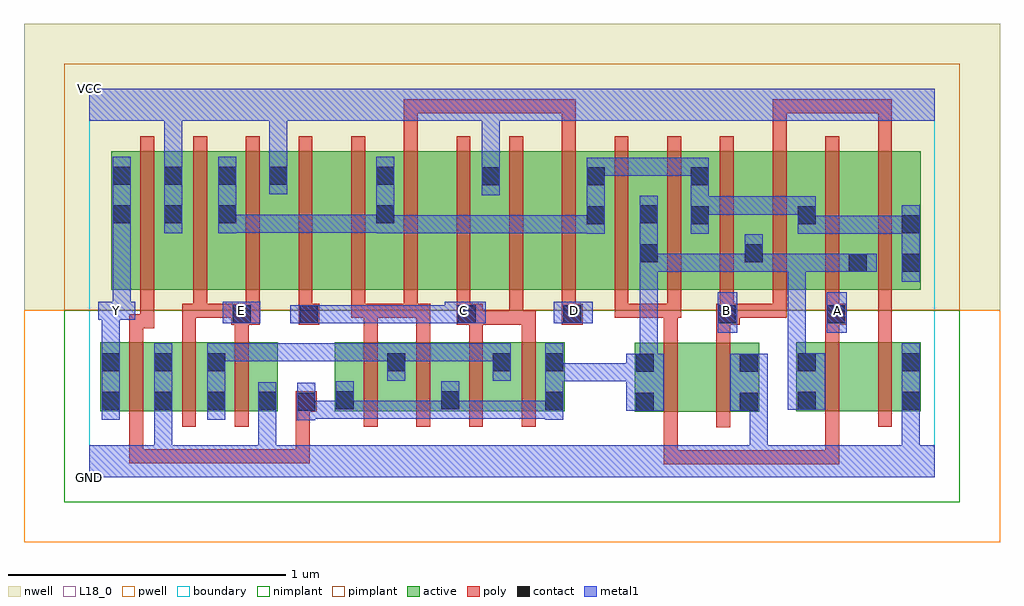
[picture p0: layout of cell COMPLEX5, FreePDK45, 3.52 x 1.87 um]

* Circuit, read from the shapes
.subckt COMPLEX5 A B C D E GND VCC Y
M1 GND n1 Y VSUBS nfet w=0.25u l=0.05u
M2 n2 E GND VSUBS nfet w=0.25u l=0.05u m=2
M3 n2 D n1 VSUBS nfet w=0.25u l=0.05u m=2
M4 n2 C n1 VSUBS nfet w=0.25u l=0.05u m=2
M5 n3 A n1 VSUBS nfet w=0.25u l=0.05u
M6 GND B n3 VSUBS nfet w=0.25u l=0.05u
M7 n4 A n1 VSUBS nfet w=0.25u l=0.05u
M8 GND B n4 VSUBS nfet w=0.25u l=0.05u
M9 VCC n1 Y n5 pfet w=0.5u l=0.05u
M10 n6 E VCC n5 pfet w=0.5u l=0.05u m=2
M11 n7 C VCC n5 pfet w=0.5u l=0.05u
M12 n6 D n7 n5 pfet w=0.5u l=0.05u
M13 n8 D n6 n5 pfet w=0.5u l=0.05u
M14 VCC C n8 n5 pfet w=0.5u l=0.05u
M15 n9 C VCC n5 pfet w=0.5u l=0.05u
M16 n6 D n9 n5 pfet w=0.5u l=0.05u
M17 n1 A n6 n5 pfet w=0.5u l=0.05u m=3
M18 n1 B n6 n5 pfet w=0.5u l=0.05u m=3
.ends

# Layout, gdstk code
import gdstk
lib = gdstk.Library(unit=1e-6, precision=1e-09)
def R(c, l, rs):  # rectangles x0, y0, x1, y1
    for r in rs: c.add(gdstk.rectangle(r[:2], r[2:], *l))
def A(c, l, x, y, w, h, nx, ny, dx, dy):  # array of equal rectangles
    R(c, l, [(x+i*dx, y+j*dy, x+i*dx+w, y+j*dy+h) for i in range(nx) for j in range(ny)])
active = (1, 0)
pwell = (2, 0)
nwell = (3, 0)
nimplant = (4, 0)
pimplant = (5, 0)
poly = (9, 0)
contact = (10, 0)
metal1 = (11, 0)
L18_0 = (18, 0)
boundary = (235, 0)

complex5 = lib.new_cell('COMPLEX5')
A(complex5, active, 0.875, 0.675, 0.23, 0.5, 3, 1, 0.38, 0)
R(complex5, active, [(1.967,0.235,2.042,0.485), (1.967,0.235,2.192,0.485), (2.192,0.235,2.417,0.485), (2.342,0.235,2.417,0.485), (0.04,0.237,0.115,0.487), (0.04,0.237,0.305,0.487), (0.23,0.237,0.495,0.487), (0.23,0.237,0.305,0.467), (0.42,0.237,0.68,0.487), (0.42,0.237,0.495,0.467), (0.605,0.237,0.68,0.487), (0.885,0.237,1.145,0.487), (1.07,0.237,1.34,0.487), (1.265,0.237,1.525,0.487), (1.265,0.237,1.34,0.405), (1.45,0.237,1.715,0.487), (1.64,0.237,1.715,0.487), (2.55,0.237,2.625,0.487), (2.55,0.237,2.775,0.487), (2.775,0.237,3,0.487), (2.925,0.237,3,0.487), (0.885,0.24,0.96,0.487), (1.07,0.297,1.145,0.452), (1.45,0.297,1.525,0.452), (0.08,0.675,0.155,1.175), (0.08,0.675,0.34,1.175), (0.265,0.675,0.535,1.175), (0.265,0.675,0.34,1.157), (0.46,0.675,0.72,1.175), (0.46,0.675,0.535,1.157), (0.645,0.675,0.875,1.175), (1.03,0.675,1.255,1.175), (1.41,0.675,1.635,1.175), (1.79,0.675,2.055,1.175), (1.79,0.675,1.865,1.157), (1.98,0.675,2.055,1.07), (1.98,0.675,2.24,1.175), (2.165,0.675,2.435,1.175), (2.36,0.675,2.625,1.175), (2.36,0.675,2.435,1.07), (2.55,0.675,2.81,1.175), (2.735,0.675,3,1.175), (2.735,0.675,2.81,1.07), (2.925,0.675,3,1.175), (1.41,0.682,1.485,1.175), (1.03,0.695,1.105,1.165), (2.55,0.697,2.625,1.157), (2.165,0.777,2.24,1.157), (0.645,0.79,0.72,1.157)])
R(complex5, pwell, [(-0.235,-0.235,3.285,0.602)])
R(complex5, nwell, [(-0.235,0.602,3.285,1.635)])
R(complex5, nimplant, [(-0.09,-0.09,3.14,0.602)])
R(complex5, pimplant, [(-0.09,0.602,3.14,1.49)])
A(complex5, poly, 0.145, 0.182, 0.05, 0.36, 3, 1, 0.19, 0)
A(complex5, poly, 0.99, 0.182, 0.05, 0.36, 4, 1, 0.19, 0)
A(complex5, poly, 0.755, 0.55, 0.075, 0.075, 3, 1, 0.95, 0)
A(complex5, poly, 0.375, 0.575, 0.05, 0.095, 6, 1, 0.19, 0)
A(complex5, poly, 1.705, 0.575, 0.05, 0.095, 7, 1, 0.19, 0)
A(complex5, poly, 0.185, 0.62, 0.05, 0.61, 15, 1, 0.19, 0)
R(complex5, poly, [(2.072,0.047,2.122,0.097), (2.072,0.047,2.122,0.097), (2.072,0.047,2.122,0.097), (2.072,0.047,2.382,0.097), (2.072,0.047,2.122,0.23), (2.332,0.047,2.382,0.097), (2.332,0.047,2.382,0.097), (2.332,0.047,2.382,0.097), (2.332,0.047,2.517,0.097), (2.467,0.047,2.517,0.097), (2.467,0.047,2.517,0.097), (2.467,0.047,2.517,0.097), (2.467,0.047,2.705,0.097), (2.655,0.047,2.705,0.097), (2.655,0.047,2.705,0.232), (0.145,0.05,0.195,0.232), (0.145,0.05,0.195,0.1), (0.145,0.05,0.195,0.1), (0.145,0.05,0.195,0.1), (0.145,0.05,0.425,0.1), (0.375,0.05,0.425,0.1), (0.375,0.05,0.557,0.1), (0.507,0.05,0.557,0.1), (0.507,0.05,0.557,0.1), (0.507,0.05,0.557,0.1), (0.507,0.05,0.795,0.1), (0.745,0.05,0.795,0.1), (0.745,0.05,0.795,0.1), (0.745,0.05,0.795,0.1), (0.745,0.05,0.795,0.285), (2.072,0.18,2.122,0.54), (2.262,0.18,2.312,0.54), (2.655,0.182,2.705,0.542), (2.845,0.182,2.895,0.542), (0.745,0.235,0.82,0.31), (2.072,0.49,2.122,0.625), (2.262,0.49,2.312,0.6), (0.145,0.492,0.195,0.587), (0.335,0.492,0.385,0.625), (0.525,0.492,0.575,0.6), (0.99,0.492,1.04,0.625), (1.18,0.492,1.23,0.625), (1.37,0.492,1.42,0.6), (1.56,0.492,1.61,0.6), (2.655,0.492,2.705,0.6), (2.845,0.492,2.895,0.625), (0.145,0.537,0.235,0.587), (0.185,0.537,0.235,0.67), (0.512,0.55,0.615,0.625), (1.325,0.55,1.42,0.625), (1.37,0.55,1.565,0.6), (1.515,0.55,1.565,0.6), (1.515,0.55,1.565,0.6), (1.515,0.55,1.565,0.67), (1.515,0.55,1.61,0.6), (2.262,0.55,2.347,0.625), (0.335,0.575,0.425,0.625), (0.375,0.575,0.425,0.625), (0.375,0.575,0.425,0.625), (0.375,0.575,0.562,0.625), (0.945,0.575,1.04,0.625), (0.99,0.575,1.04,0.625), (0.99,0.575,1.04,0.625), (0.99,0.575,1.185,0.625), (1.135,0.575,1.23,0.625), (1.895,0.575,1.945,0.625), (1.895,0.575,1.945,0.625), (1.895,0.575,1.945,0.625), (1.895,0.575,2.122,0.625), (2.072,0.575,2.135,0.625), (2.297,0.575,2.347,0.625), (2.297,0.575,2.347,0.625), (2.297,0.575,2.515,0.625), (2.465,0.575,2.515,0.625), (2.845,0.575,2.895,0.625), (1.135,1.18,1.185,1.362), (1.705,1.18,1.755,1.362), (2.465,1.18,2.515,1.362), (2.845,1.18,2.895,1.362), (1.135,1.312,1.185,1.362), (1.135,1.312,1.317,1.362), (1.267,1.312,1.317,1.362), (1.267,1.312,1.317,1.362), (1.267,1.312,1.317,1.362), (1.267,1.312,1.552,1.362), (1.502,1.312,1.552,1.362), (1.502,1.312,1.552,1.362), (1.502,1.312,1.552,1.362), (1.502,1.312,1.755,1.362), (1.705,1.312,1.755,1.362), (1.705,1.312,1.755,1.362), (1.705,1.312,1.755,1.362), (2.465,1.312,2.515,1.362), (2.465,1.312,2.762,1.362), (2.712,1.312,2.762,1.362), (2.712,1.312,2.762,1.362), (2.712,1.312,2.762,1.362), (2.712,1.312,2.895,1.362), (2.845,1.312,2.895,1.362), (2.845,1.312,2.895,1.362), (2.845,1.312,2.895,1.362)])
A(complex5, contact, 0.045, 0.242, 0.065, 0.065, 3, 2, 0.19, 0.14)
R(complex5, contact, [(0.75,0.24,0.815,0.305), (1.972,0.24,2.037,0.305), (2.347,0.24,2.412,0.305), (0.61,0.242,0.675,0.307), (1.645,0.242,1.71,0.307), (2.555,0.242,2.62,0.307), (2.93,0.242,2.995,0.307), (0.89,0.245,0.955,0.31), (1.27,0.245,1.335,0.31), (1.972,0.38,2.037,0.445), (2.347,0.38,2.412,0.445), (1.075,0.382,1.14,0.447), (1.455,0.382,1.52,0.447), (1.645,0.382,1.71,0.447), (2.555,0.382,2.62,0.447), (2.93,0.382,2.995,0.447), (0.517,0.555,0.582,0.62), (0.76,0.555,0.825,0.62), (1.33,0.555,1.395,0.62), (1.71,0.555,1.775,0.62), (2.267,0.555,2.332,0.62), (2.66,0.555,2.725,0.62), (2.74,0.74,2.805,0.805), (2.93,0.74,2.995,0.805), (1.985,0.775,2.05,0.84), (2.365,0.775,2.43,0.84), (2.93,0.88,2.995,0.945), (1.795,0.912,1.86,0.977), (2.17,0.912,2.235,0.977), (2.555,0.912,2.62,0.977), (0.085,0.915,0.15,0.98), (0.27,0.915,0.335,0.98), (0.465,0.915,0.53,0.98), (1.035,0.915,1.1,0.98), (1.985,0.915,2.05,0.98), (1.415,1.052,1.48,1.117), (1.795,1.052,1.86,1.117), (2.17,1.052,2.235,1.117), (0.085,1.055,0.15,1.12), (0.27,1.055,0.335,1.12), (0.465,1.055,0.53,1.12), (0.65,1.055,0.715,1.12), (1.035,1.055,1.1,1.12)])
A(complex5, metal1, 0.045, 0.207, 0.065, 0.275, 3, 1, 0.19, 0)
R(complex5, metal1, [(0,0,3.05,0.115), (0.235,0.05,0.3,0.115), (0.235,0.05,0.3,0.115), (0.235,0.05,0.3,0.115), (0.235,0.05,0.3,0.115), (0.235,0.05,0.3,0.272), (0.61,0.05,0.675,0.115), (0.61,0.05,0.675,0.115), (0.61,0.05,0.675,0.272), (2.382,0.05,2.447,0.115), (2.382,0.05,2.447,0.115), (2.382,0.05,2.447,0.115), (2.382,0.05,2.447,0.115), (2.382,0.05,2.447,0.305), (2.93,0.05,2.995,0.115), (2.93,0.05,2.995,0.115), (2.93,0.05,2.995,0.115), (2.93,0.05,2.995,0.115), (2.93,0.05,2.995,0.272), (0.75,0.205,0.815,0.34), (0.61,0.207,0.675,0.272), (0.61,0.207,0.675,0.272), (0.61,0.207,0.675,0.342), (1.645,0.207,1.71,0.482), (2.93,0.207,2.995,0.482), (0.75,0.21,0.955,0.275), (0.89,0.21,0.955,0.345), (0.89,0.21,0.997,0.275), (0.932,0.21,0.997,0.275), (0.932,0.21,1.135,0.275), (1.07,0.21,1.135,0.275), (1.07,0.21,1.135,0.275), (1.07,0.21,1.135,0.275), (1.07,0.21,1.335,0.275), (1.27,0.21,1.335,0.275), (1.27,0.21,1.335,0.275), (1.27,0.21,1.472,0.275), (1.27,0.21,1.335,0.345), (1.407,0.21,1.472,0.275), (1.407,0.21,1.472,0.275), (1.407,0.21,1.472,0.275), (1.407,0.21,1.71,0.275), (1.937,0.24,2.072,0.445), (2.312,0.24,2.447,0.445), (2.52,0.242,2.655,0.447), (1.645,0.345,1.71,0.41), (1.645,0.345,1.71,0.41), (1.645,0.345,1.865,0.41), (1.8,0.345,1.865,0.41), (1.8,0.345,1.865,0.41), (1.8,0.345,1.865,0.41), (1.8,0.345,2.002,0.41), (1.937,0.345,2.002,0.41), (1.937,0.345,2.002,0.41), (1.075,0.347,1.14,0.482), (1.455,0.347,1.52,0.482), (1.985,0.38,2.05,0.805), (2.52,0.382,2.585,0.447), (2.52,0.382,2.585,0.447), (2.52,0.382,2.585,0.805), (0.045,0.417,0.11,0.632), (0.425,0.417,0.49,0.482), (0.425,0.417,0.49,0.482), (0.425,0.417,0.722,0.482), (0.657,0.417,0.722,0.482), (0.657,0.417,0.722,0.482), (0.657,0.417,0.722,0.482), (0.657,0.417,0.962,0.482), (0.897,0.417,0.962,0.482), (0.897,0.417,0.997,0.482), (0.932,0.417,0.997,0.482), (0.932,0.417,1.14,0.482), (1.075,0.417,1.14,0.482), (1.075,0.417,1.14,0.482), (1.075,0.417,1.277,0.482), (1.212,0.417,1.277,0.482), (1.212,0.417,1.277,0.482), (1.212,0.417,1.277,0.482), (1.212,0.417,1.52,0.482), (2.267,0.52,2.337,0.667), (2.66,0.52,2.732,0.667), (0.482,0.555,0.617,0.632), (0.725,0.555,0.86,0.62), (0.795,0.555,0.86,0.62), (0.795,0.555,0.86,0.62), (0.795,0.555,0.997,0.62), (0.932,0.555,0.997,0.62), (0.932,0.555,1.135,0.62), (1.07,0.555,1.135,0.62), (1.07,0.555,1.135,0.62), (1.07,0.555,1.135,0.62), (1.07,0.555,1.335,0.62), (1.27,0.555,1.335,0.62), (1.27,0.555,1.347,0.62), (1.282,0.555,1.43,0.632), (1.675,0.555,1.817,0.632), (0.032,0.567,0.167,0.632), (0.085,0.567,0.15,0.945), (2.93,0.705,2.995,0.98), (1.985,0.74,2.05,0.805), (1.985,0.74,2.05,0.805), (1.985,0.74,2.05,1.015), (1.985,0.74,2.187,0.805), (2.122,0.74,2.187,0.805), (2.122,0.74,2.187,0.805), (2.122,0.74,2.187,0.805), (2.122,0.74,2.43,0.805), (2.365,0.74,2.43,0.805), (2.365,0.74,2.43,0.805), (2.365,0.74,2.43,0.875), (2.365,0.74,2.585,0.805), (2.52,0.74,2.585,0.805), (2.52,0.74,2.585,0.805), (2.52,0.74,2.585,0.805), (2.52,0.74,2.77,0.805), (2.705,0.74,2.77,0.805), (2.705,0.74,2.77,0.805), (2.705,0.74,2.84,0.805), (1.795,0.877,1.86,1.152), (2.17,0.877,2.235,1.152), (2.555,0.877,2.757,0.942), (2.555,0.877,2.62,1.012), (2.692,0.877,2.757,0.942), (2.692,0.877,2.757,0.942), (2.692,0.877,2.757,0.942), (2.692,0.877,2.995,0.942), (2.93,0.877,2.995,0.942), (2.93,0.877,2.995,0.942), (0.085,0.88,0.15,1.155), (0.27,0.88,0.335,1.155), (0.465,0.88,0.53,1.155), (1.035,0.88,1.1,1.155), (1.035,0.88,1.135,0.945), (1.07,0.88,1.135,0.945), (1.07,0.88,1.335,0.945), (1.27,0.88,1.335,0.945), (1.27,0.88,1.335,0.945), (1.27,0.88,1.335,0.945), (1.27,0.88,1.472,0.945), (1.407,0.88,1.472,0.945), (1.407,0.88,1.472,0.945), (1.407,0.88,1.472,0.945), (1.407,0.88,1.657,0.945), (1.592,0.88,1.657,0.945), (1.592,0.88,1.657,0.945), (1.592,0.88,1.657,0.945), (1.592,0.88,1.86,0.945), (0.465,0.882,0.53,0.947), (0.465,0.882,0.53,0.947), (0.465,0.882,0.667,0.947), (0.602,0.882,0.667,0.947), (0.602,0.882,0.667,0.947), (0.602,0.882,0.667,0.947), (0.602,0.882,0.86,0.947), (0.795,0.882,0.86,0.947), (0.795,0.882,0.997,0.947), (0.932,0.882,0.997,0.947), (0.932,0.882,1.1,0.947), (2.17,0.947,2.447,1.012), (2.382,0.947,2.447,1.012), (2.382,0.947,2.447,1.012), (2.382,0.947,2.447,1.012), (2.382,0.947,2.585,1.012), (2.52,0.947,2.585,1.012), (2.52,0.947,2.62,1.012), (1.415,1.017,1.48,1.152), (0.65,1.02,0.715,1.155), (1.415,1.087,1.48,1.152), (1.415,1.087,1.48,1.152), (1.415,1.087,1.48,1.35), (1.795,1.087,1.86,1.152), (1.795,1.087,1.86,1.152), (1.795,1.087,2.05,1.152), (1.985,1.087,2.05,1.152), (1.985,1.087,2.195,1.152), (2.13,1.087,2.195,1.152), (2.13,1.087,2.235,1.152), (0.27,1.09,0.335,1.35), (0.65,1.09,0.715,1.35), (0,1.285,3.05,1.4), (0.27,1.285,0.335,1.35), (0.27,1.285,0.335,1.35), (0.65,1.285,0.715,1.35), (0.65,1.285,0.715,1.35)])
R(complex5, L18_0, [(0,0,3.05,0.115), (0.235,0.05,0.3,0.115), (0.235,0.05,0.3,0.115), (0.235,0.05,0.3,0.115), (0.235,0.05,0.3,0.115), (0.235,0.05,0.3,0.272), (0.61,0.05,0.675,0.115), (0.61,0.05,0.675,0.115), (0.61,0.05,0.675,0.272), (2.382,0.05,2.447,0.115), (2.382,0.05,2.447,0.115), (2.382,0.05,2.447,0.115), (2.382,0.05,2.447,0.115), (2.382,0.05,2.447,0.305), (2.93,0.05,2.995,0.115), (2.93,0.05,2.995,0.115), (2.93,0.05,2.995,0.115), (2.93,0.05,2.995,0.115), (2.93,0.05,2.995,0.272), (0.045,0.207,0.11,0.482), (0.235,0.207,0.3,0.482), (0.61,0.207,0.675,0.272), (0.61,0.207,0.675,0.272), (0.61,0.207,0.675,0.342), (2.93,0.207,2.995,0.482), (2.312,0.24,2.447,0.445), (0.045,0.417,0.11,0.632), (2.267,0.52,2.337,0.667), (2.66,0.52,2.732,0.667), (0.482,0.555,0.617,0.632), (0.725,0.555,0.86,0.62), (0.795,0.555,0.86,0.62), (0.795,0.555,0.86,0.62), (0.795,0.555,0.997,0.62), (0.932,0.555,0.997,0.62), (0.932,0.555,1.135,0.62), (1.07,0.555,1.135,0.62), (1.07,0.555,1.135,0.62), (1.07,0.555,1.135,0.62), (1.07,0.555,1.335,0.62), (1.27,0.555,1.335,0.62), (1.27,0.555,1.347,0.62), (1.282,0.555,1.43,0.632), (1.675,0.555,1.817,0.632), (0.032,0.567,0.167,0.632), (0.067,0.567,0.132,0.632), (0.085,0.567,0.15,0.945), (0.517,0.567,0.582,0.632), (1.317,0.567,1.382,0.632), (1.717,0.567,1.782,0.632), (2.267,0.567,2.332,0.632), (2.667,0.567,2.732,0.632), (0.085,0.88,0.15,1.155), (0.27,0.88,0.335,1.155), (1.415,1.017,1.48,1.152), (0.65,1.02,0.715,1.155), (1.415,1.087,1.48,1.152), (1.415,1.087,1.48,1.152), (1.415,1.087,1.48,1.35), (0.27,1.09,0.335,1.35), (0.65,1.09,0.715,1.35), (0,1.285,3.05,1.4), (0.27,1.285,0.335,1.35), (0.27,1.285,0.335,1.35), (0.65,1.285,0.715,1.35), (0.65,1.285,0.715,1.35)])
R(complex5, boundary, [(0,0,3.05,1.4)])
complex5.add(gdstk.Label('A', (2.7,0.6), layer=11, texttype=0))
complex5.add(gdstk.Label('B', (2.3,0.6), layer=11, texttype=0))
complex5.add(gdstk.Label('C', (1.35,0.6), layer=11, texttype=0))
complex5.add(gdstk.Label('D', (1.75,0.6), layer=11, texttype=0))
complex5.add(gdstk.Label('E', (0.55,0.6), layer=11, texttype=0))
complex5.add(gdstk.Label('Y', (0.1,0.6), layer=11, texttype=0))
complex5.add(gdstk.Label('VCC', (0,1.4), layer=11, texttype=0))
complex5.add(gdstk.Label('GND', (0,0), layer=11, texttype=0))

lib.write_gds('COMPLEX5.gds')
